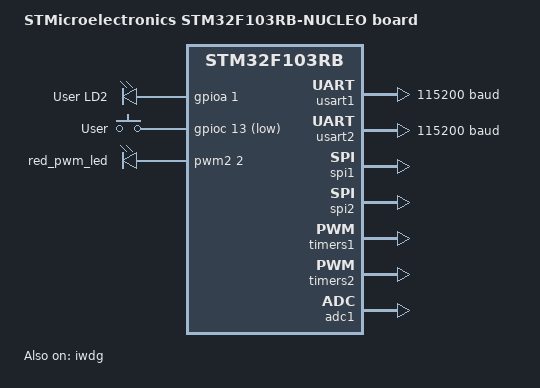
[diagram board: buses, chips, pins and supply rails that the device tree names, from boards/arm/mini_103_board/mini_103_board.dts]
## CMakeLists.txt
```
# Find Zephyr. This also loads Zephyr's build system.
cmake_minimum_required(VERSION 3.13.1)

SET(BOARD "mini_103_board")
SET(BOARD_ROOT ${CMAKE_CURRENT_SOURCE_DIR})
message(current : ${BOARD_ROOT})

find_package(Zephyr)
project(my_zephyr_app)

# Add your source file to the "app" target. This must come after
# find_package(Zephyr) which defines the target.
target_sources(app PRIVATE src/main.cpp)
```

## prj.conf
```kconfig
# CONFIG_NATIVE_APPLICATION is not set
# CONFIG_SIZE_OPTIMIZATIONS is not set
# CONFIG_SPEED_OPTIMIZATIONS is not set
CONFIG_DEBUG_OPTIMIZATIONS=y
CONFIG_CPLUSPLUS=y
CONFIG_STD_CPP11=y
CONFIG_PWM=y

CONFIG_PRINTK=y
CONFIG_SHELL=y
CONFIG_LOG=y
CONFIG_INIT_STACKS=y
CONFIG_THREAD_STACK_INFO=y
CONFIG_KERNEL_SHELL=y
CONFIG_THREAD_MONITOR=y
CONFIG_BOOT_BANNER=n
CONFIG_THREAD_NAME=y
CONFIG_DEVICE_SHELL=y
CONFIG_POSIX_CLOCK=y
CONFIG_DATE_SHELL=y
```

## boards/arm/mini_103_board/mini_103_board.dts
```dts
/*
 * Copyright (c) 2017 Linaro Limited
 *
 * SPDX-License-Identifier: Apache-2.0
 */

/dts-v1/;
#include <st/f1/stm32f103X8.dtsi>

/ {
	model = "STMicroelectronics STM32F103RB-NUCLEO board";
	compatible = "st,stm32f103rb-nucleo", "st,stm32f103rb";

	chosen {
		zephyr,console = &usart1;
		zephyr,shell-uart = &usart1;
		zephyr,sram = &sram0;
		zephyr,flash = &flash0;
	};

	leds {
		compatible = "gpio-leds";
		green_led_2: led_2 {
			// gpios = <&gpioa 1 GPIO_ACTIVE_HIGH>;
                        gpios = <&gpioa 1 GPIO_ACTIVE_HIGH>;
			label = "User LD2";
		};
	};

	gpio_keys {
		compatible = "gpio-keys";
		user_button: button {
			label = "User";
			gpios = <&gpioc 13 GPIO_ACTIVE_LOW>;
		};
	};

        pwmleds {
            compatible = "pwm-leds";
            red_pwm_led: red_pwm_led {
                  pwms = <&pwm2 2 4 PWM_POLARITY_NORMAL>;
            };
        };
        aliases {
		led0 = &green_led_2;
		sw0 = &user_button;
                pwm-led0 = &red_pwm_led;
	};
};

&usart1 {
      current-speed = <115200>;
      status = "okay";
};

&usart2 {
      current-speed = <115200>;
      status = "okay";
};

&spi1 {
	status = "okay";
};

&spi2 {
	status = "okay";
};

&timers1 {
	status = "okay";

	pwm {
            status = "okay";
	};
};
&timers2 {
        status = "okay";

        pwm2: pwm {
            status = "okay";
            st,prescaler = <71>;
        };
};

&iwdg {
	status = "okay";
};

&adc1 {
	status = "okay";
};
```

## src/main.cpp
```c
#include <stdint.h>
#include <stdio.h>
#include <zephyr.h>
#include <device.h>
#include <devicetree.h>
#include <drivers/gpio.h>
#include <drivers/pwm.h>

int64_t g_circle_count = 0;

/* The devicetree node identifier for the "led0" alias. */
#define LED0_NODE DT_ALIAS(led0)

#if DT_NODE_HAS_STATUS(LED0_NODE, okay)
#define LED0	DT_GPIO_LABEL(LED0_NODE, gpios)
#define PIN	DT_GPIO_PIN(LED0_NODE, gpios)
#if DT_PHA_HAS_CELL(LED0_NODE, gpios, flags)
#define FLAGS	DT_GPIO_FLAGS(LED0_NODE, gpios)
#endif
#else
/* A build error here means your board isn't set up to blink an LED. */
#error "Unsupported board: led0 devicetree alias is not defined"
#define LED0	""
#define PIN	0
#endif

#ifndef FLAGS
#define FLAGS	0
#endif

// pwm test
#define PWM_LED0_NODE	DT_ALIAS(pwm_led0)

#define FLAGS_OR_ZERO(node)				\
	COND_CODE_1(DT_PHA_HAS_CELL(node, pwms, flags),	\
		    (DT_PWMS_FLAGS(node)),		\
		    (0))

#if DT_NODE_HAS_STATUS(PWM_LED0_NODE, okay)
#define PWM_LABEL	DT_PWMS_LABEL(PWM_LED0_NODE)
#define PWM_CHANNEL	DT_PWMS_CHANNEL(PWM_LED0_NODE)
#define PWM_FLAGS	FLAGS_OR_ZERO(PWM_LED0_NODE)
#else
#error "Unsupported board: pwm-led0 devicetree alias is not defined"
#define PWM_LABEL	""
#define PWM_CHANNEL	0
#define PWM_FLAGS	0
#endif

/* in microseconds */
#define MIN_PERIOD	0

/* in microseconds */
#define MAX_PERIOD	500

void main(void) {
  const struct device *pwm_device = nullptr;
  uint32_t max_period;
  uint32_t period;
  uint8_t dir = 0;

  pwm_device = device_get_binding(PWM_LABEL);

  printf("enter mini_103 pwm test app");

  if (!pwm_device) {
    printf("cannot find %s \n", PWM_LABEL);
    return;
  }

  max_period = MAX_PERIOD;
  while (pwm_pin_set_usec(pwm_device, PWM_CHANNEL,
                          max_period, max_period / 2U, PWM_FLAGS)) {
    max_period /= 2U;
    if (max_period < (4U * MIN_PERIOD)) {
      printf("This sample needs to set a period that is "
             "not supported by the used PWM driver \n");
      return;
    }
  }
  period = max_period;

  int pulse = 0;

  while (1) {
    pulse = 0;
    for (int i=0; i< MAX_PERIOD; i++) {
      pulse++;
      if (pwm_pin_set_usec(pwm_device, PWM_CHANNEL,
                           period, pulse, PWM_FLAGS)) {
        printk("pwm pin set fails\n");
        return;
      }
      k_msleep(5);
    }
    for (int i=0; i< MAX_PERIOD; i++) {
      pulse--;
      if (pwm_pin_set_usec(pwm_device, PWM_CHANNEL,
                           period, pulse, PWM_FLAGS)) {
        printk("pwm pin set fails\n");
        return;
      }
      k_msleep(5);
    }
    // printf("circle once \n");
  }
}
void main1(void) {
  const struct device *dev = nullptr;
  bool led_is_on = true;
  int ret = -1;

  dev = device_get_binding(LED0);

  if (!dev) {
    return;
  }
  ret = gpio_pin_configure(dev, PIN, GPIO_OUTPUT_ACTIVE | FLAGS);

  if (ret < 0) {
    return;
  }
  while (1) {
    gpio_pin_set(dev, PIN, (int)led_is_on);
    led_is_on = !led_is_on;
    k_msleep(500);
    printf("hello world\n");
  }
}
```
